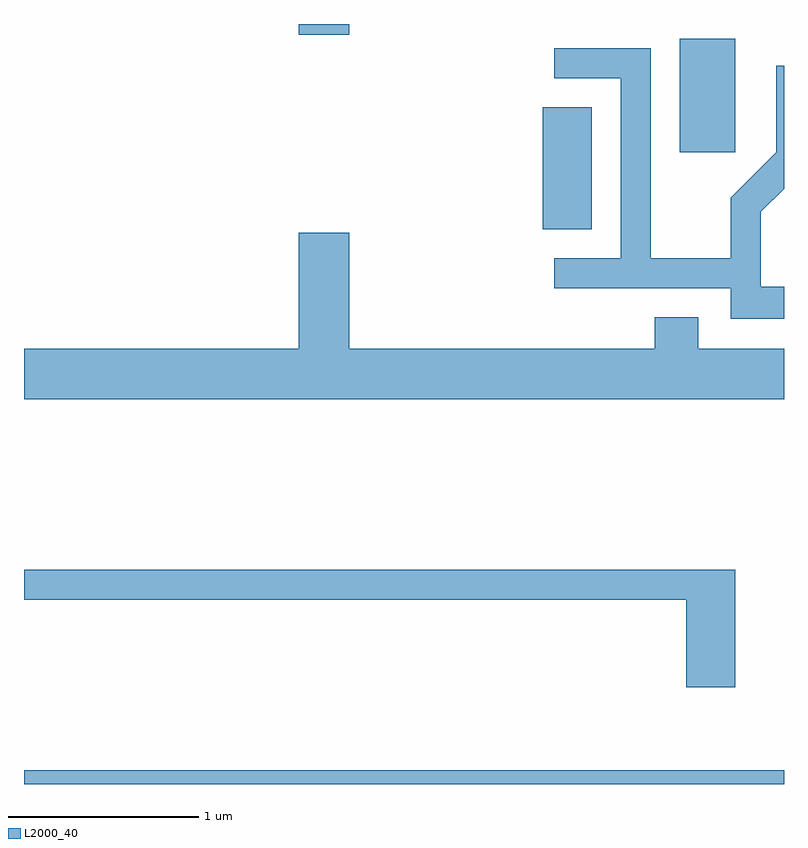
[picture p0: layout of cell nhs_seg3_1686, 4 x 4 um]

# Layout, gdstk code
import gdstk
lib = gdstk.Library(unit=1e-6, precision=1e-09)
def R(c, l, rs):  # rectangles x0, y0, x1, y1
    for r in rs: c.add(gdstk.rectangle(r[:2], r[2:], *l))
def P(c, l, *ps):  # polygons
    for p in ps: c.add(gdstk.Polygon(p, *l))
L2000_40 = (2000, 40)

nhs_seg3_1686 = lib.new_cell('nhs_seg3_1686')
R(nhs_seg3_1686, L2000_40, [(233.611,1223.892,237.611,1223.964), (236.341,1226.811,236.599,1227.454), (237.061,1227.216,237.354,1227.814), (235.056,1227.836,235.324,1227.892)])
P(nhs_seg3_1686, L2000_40, [(237.611,1226.509),(237.489,1226.509),(237.489,1226.904),(237.611,1227.026),(237.611,1227.673),(237.571,1227.673),(237.571,1227.217),(237.331,1226.977),(237.331,1226.659),(236.909,1226.659),(236.909,1227.764),(236.403,1227.764),(236.403,1227.606),(236.751,1227.606),(236.751,1226.659),(236.403,1226.659),(236.403,1226.501),(237.331,1226.501),(237.331,1226.341),(237.611,1226.341)],
  [(237.611,1226.184),(237.159,1226.184),(237.159,1226.349),(236.931,1226.349),(236.931,1226.184),(235.324,1226.184),(235.324,1226.794),(235.056,1226.794),(235.056,1226.184),(233.611,1226.184),(233.611,1225.916),(237.611,1225.916)],
  [(237.354,1225.019),(233.611,1225.019),(233.611,1224.861),(237.096,1224.861),(237.096,1224.401),(237.354,1224.401)])

lib.write_gds('nhs_seg3_1686.gds')
